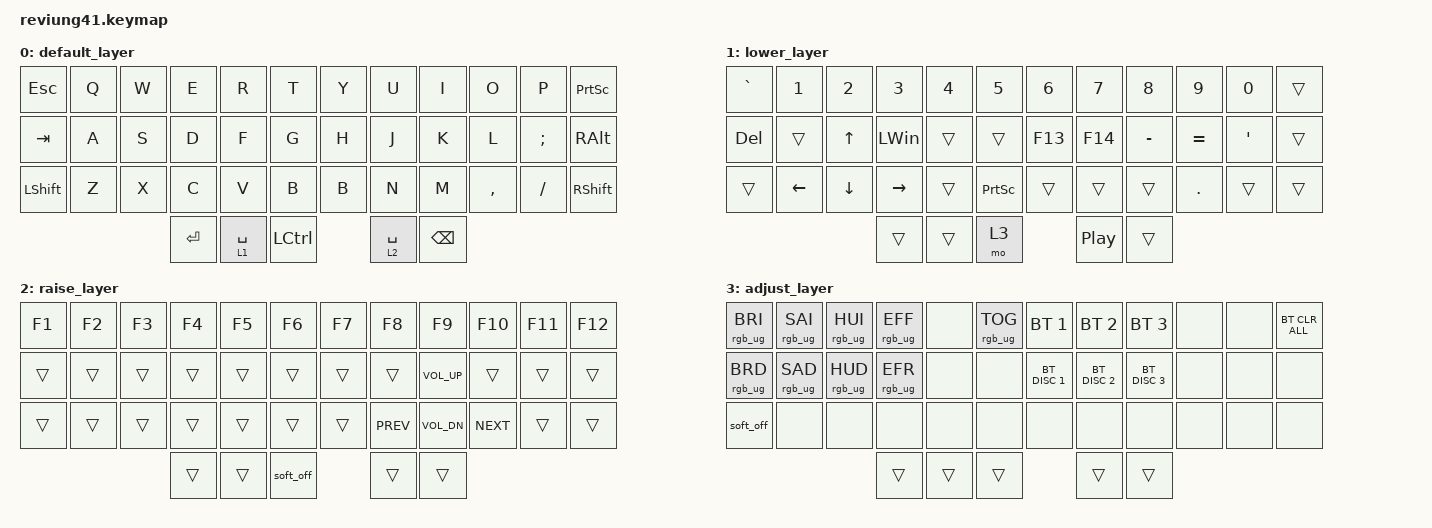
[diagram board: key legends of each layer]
/*
 * Copyright (c) 2020 The ZMK Contributors
 *
 * SPDX-License-Identifier: MIT
 */

#include <behaviors.dtsi>
#include <dt-bindings/zmk/bt.h>
#include <dt-bindings/zmk/keys.h>
#include <dt-bindings/zmk/rgb.h>

#define DEFAULT 0
#define LOWER  1
#define RAISE  2
#define ADJUST 3

/ {
    keymap {
        compatible = "zmk,keymap";

        default_layer {
            // -------------------------------------------------------------------------------------
            // |  TAB |  Q  |  W  |  E  |  R  |  T  |   |  Y  |  U   |  I  |  O  |  P  |   BKSP    |
            // | CTRL |  A  |  S  |  D  |  F  |  G  |   |  H  |  J   |  K  |  L  |  ;  |    '      |
            // | SHFT |  Z  |  X  |  C  |  V  |  B  |   |  N  |  M   |  ,  |  .  |  /  | SHFT(RET) |
            //                         | ALT | LWR | SPC | RSE  | ALT |

            bindings = <
&kp ESC    &kp Q  &kp W  &kp E      &kp R        &kp T             &kp Y  &kp U        &kp I          &kp O      &kp P     &kp PRINTSCREEN
&kp TAB    &kp A  &kp S  &kp D      &kp F        &kp G             &kp H  &kp J        &kp K          &kp L      &kp SEMI  &kp RIGHT_ALT
&kp LSHFT  &kp Z  &kp X  &kp C      &kp V        &kp B             &kp B  &kp N        &kp M          &kp COMMA  &kp FSLH  &kp RIGHT_SHIFT
                         &kp ENTER  &lt 1 SPACE         &kp LCTRL         &lt 2 SPACE  &kp BACKSPACE
            >;
        };

        lower_layer {
            // ----------------------------------------------------------------------------------
            // |    |  !  |  @  |  #  |  $  |  %  |   |  ^  |  &  |  *  |  (  |  )  |    DEL    |
            // |    |  _  |  +  |  {  |  }  | "|" |   | LFT | DWN |  UP | RGT |  `  |     ~     |
            // |    | ESC | GUI | ALT | CAPS|  "  |   | HOME| END | PGUP| PGDN| PRSC| SHFT(RET) |
            //                       |     |     | RET | ADJ |     |

            bindings = <
&kp GRAVE   &kp NUMBER_1  &kp NUMBER_2  &kp NUMBER_3  &kp NUMBER_4  &kp NUMBER_5            &kp NUMBER_6  &kp NUMBER_7      &kp NUMBER_8  &kp NUMBER_9  &kp NUMBER_0      &trans
&kp DELETE  &trans        &kp UP        &kp LEFT_WIN  &trans        &trans                  &kp F13       &kp F14           &kp MINUS     &kp EQUAL     &kp SINGLE_QUOTE  &trans
&trans      &kp LEFT      &kp DOWN      &kp RIGHT     &trans        &kp PRINTSCREEN         &trans        &trans            &trans        &kp PERIOD    &trans            &trans
                                        &trans        &trans                         &mo 3                &kp C_PLAY_PAUSE  &trans
            >;
        };

        raise_layer {
            // -----------------------------------------------------------------------------------------
            // |    |  1  |  2  |  3  |  4  |  5  |   |  6  |  7  |  8  |  9  |  0  | DEL |
            // |    |  -  |  =  |  [  |  ]  |  \  |   | F1  | F2  | F3  | F4  | F5  | F6  |
            // |    | ESC | GUI | ALT | CAPS|  "  |   | F7  | F8  | F9  | F10 | F11 | F12 |
            //                       |     | ADJ | BKSP |    |     |

            bindings = <
&kp F1  &kp F2  &kp F3  &kp F4  &kp F5  &kp F6             &kp F7  &kp F8      &kp F9           &kp F10     &kp F11  &kp F12
&trans  &trans  &trans  &trans  &trans  &trans             &trans  &trans      &kp C_VOLUME_UP  &trans      &trans   &trans
&trans  &trans  &trans  &trans  &trans  &trans             &trans  &kp K_PREV  &kp C_VOL_DN     &kp K_NEXT  &trans   &trans
                        &trans  &trans          &soft_off          &trans      &trans
            >;
        };

        adjust_layer {
            // -----------------------------------------------------------------------------------------
            // | RGB BRI+ | RGB SAT+ | RGB HUE+ | RGB ANI+ |    | RGB TOG |   |  BT1  | BT2 | BT3 | BT4 | BT5 | BT CLR |
            // | RGB BRI- | RGB SAT- | RGB HUE- | RGB ANI- |    |         |   |       |     |     |     |     |        |
            // |          |          |          |          |    |         |   | RESET |     |     |     |     |        |
            //                                              |     |     |     |     |     |

            bindings = <
&rgb_ug RGB_BRI  &rgb_ug RGB_SAI  &rgb_ug RGB_HUI  &rgb_ug RGB_EFF  &none   &rgb_ug RGB_TOG          &bt BT_SEL 1   &bt BT_SEL 2   &bt BT_SEL 3   &none  &none  &bt BT_CLR_ALL
&rgb_ug RGB_BRD  &rgb_ug RGB_SAD  &rgb_ug RGB_HUD  &rgb_ug RGB_EFR  &none   &none                    &bt BT_DISC 1  &bt BT_DISC 2  &bt BT_DISC 3  &none  &none  &none
&soft_off        &none            &none            &none            &none   &none                    &none          &none          &none          &none  &none  &none
                                                   &trans           &trans                   &trans                 &trans         &trans
            >;
        };
    };
};
